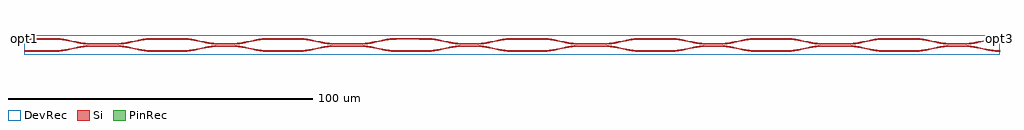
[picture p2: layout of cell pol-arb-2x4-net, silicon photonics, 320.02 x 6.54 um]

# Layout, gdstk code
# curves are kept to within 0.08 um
import gdstk
lib = gdstk.Library(unit=1e-6, precision=1e-09)
def R(c, l, rs):  # rectangles x0, y0, x1, y1
    for r in rs: c.add(gdstk.rectangle(r[:2], r[2:], *l))
def P(c, l, *ps):  # polygons
    for p in ps: c.add(gdstk.Polygon(p, *l))
Si = (1, 0)
PinRec = (1, 10)
DevRec = (68, 0)

layer_0_0_phase_sec_0_1 = lib.new_cell('layer-0_0_phase_sec_0$1')
P(layer_0_0_phase_sec_0_1, Si, [(4.609,-0.232),(0,-0.225),(0,0.225),(10,0.225),(10,-0.225)])

layer_0_0_phase_sec_1_1 = lib.new_cell('layer-0_0_phase_sec_1$1')
P(layer_0_0_phase_sec_1_1, Si, [(6.139,-0.233),(0,-0.225),(0,0.225),(10,0.225),(10,-0.225)])

dc_arm_up_8_1 = lib.new_cell('dc_arm_up_8$1')
R(dc_arm_up_8_1, Si, [(12,0.1,20,0.55)])
P(dc_arm_up_8_1, Si, [(12,0.1),(10.861,0.137),(9.344,0.292),(2.966,1.532),(1.481,1.712),(0,1.775),(0,2.225),(1.139,2.188),(2.656,2.033),(9.034,0.793),(10.519,0.613),(12,0.55)],
  [(20,0.1),(20,0.55),(21.481,0.613),(22.966,0.793),(29.344,2.033),(30.861,2.188),(32,2.225),(32,1.775),(30.519,1.712),(29.034,1.532),(22.656,0.292),(21.139,0.137)])

dc_arm_down_8_1 = lib.new_cell('dc_arm_down_8$1')
R(dc_arm_down_8_1, Si, [(12,-0.55,20,-0.1)])
P(dc_arm_down_8_1, Si, [(0,-2.225),(0,-1.775),(1.481,-1.712),(2.966,-1.532),(9.344,-0.292),(10.861,-0.137),(12,-0.1),(12,-0.55),(10.519,-0.613),(9.034,-0.793),(2.656,-2.033),(1.139,-2.188)],
  [(32,-2.225),(30.861,-2.188),(29.344,-2.033),(22.966,-0.793),(21.481,-0.613),(20,-0.55),(20,-0.1),(21.139,-0.137),(22.656,-0.292),(29.034,-1.532),(30.519,-1.712),(32,-1.775)])

dc_8_1 = lib.new_cell('dc_8$1')
dc_8_1.add(gdstk.Reference(dc_arm_up_8_1, (0,0)))
dc_8_1.add(gdstk.Reference(dc_arm_down_8_1, (0,0)))

layer_0_0_phase_sec_2_1 = lib.new_cell('layer-0_0_phase_sec_2$1')
P(layer_0_0_phase_sec_2_1, Si, [(4.619,-0.259),(0,-0.225),(0,0.225),(10,0.225),(10,-0.225)])

layer_0_0_phase_sec_3_1 = lib.new_cell('layer-0_0_phase_sec_3$1')
P(layer_0_0_phase_sec_3_1, Si, [(3.068,-0.228),(0,-0.225),(0,0.225),(10,0.225),(10,-0.225)])

dc_arm_up_4_1 = lib.new_cell('dc_arm_up_4$1')
R(dc_arm_up_4_1, Si, [(12,0.1,16,0.55)])
P(dc_arm_up_4_1, Si, [(12,0.1),(10.861,0.137),(9.344,0.292),(2.966,1.532),(1.481,1.712),(0,1.775),(0,2.225),(1.139,2.188),(2.656,2.033),(9.034,0.793),(10.519,0.613),(12,0.55)],
  [(16,0.1),(16,0.55),(17.481,0.613),(18.966,0.793),(25.344,2.033),(26.861,2.188),(28,2.225),(28,1.775),(26.519,1.712),(25.034,1.532),(18.656,0.292),(17.139,0.137)])

dc_arm_down_4_1 = lib.new_cell('dc_arm_down_4$1')
R(dc_arm_down_4_1, Si, [(12,-0.55,16,-0.1)])
P(dc_arm_down_4_1, Si, [(0,-2.225),(0,-1.775),(1.481,-1.712),(2.966,-1.532),(9.344,-0.292),(10.861,-0.137),(12,-0.1),(12,-0.55),(10.519,-0.613),(9.034,-0.793),(2.656,-2.033),(1.139,-2.188)],
  [(28,-2.225),(26.861,-2.188),(25.344,-2.033),(18.966,-0.793),(17.481,-0.613),(16,-0.55),(16,-0.1),(17.139,-0.137),(18.656,-0.292),(25.034,-1.532),(26.519,-1.712),(28,-1.775)])

dc_4_1 = lib.new_cell('dc_4$1')
dc_4_1.add(gdstk.Reference(dc_arm_up_4_1, (0,0)))
dc_4_1.add(gdstk.Reference(dc_arm_down_4_1, (0,0)))

layer_1_0_phase_sec_0_1 = lib.new_cell('layer-1_0_phase_sec_0$1')
P(layer_1_0_phase_sec_0_1, Si, [(3.083,-0.26),(0,-0.225),(0,0.225),(10,0.225),(10,-0.225)])

layer_1_0_phase_sec_1_1 = lib.new_cell('layer-1_0_phase_sec_1$1')
P(layer_1_0_phase_sec_1_1, Si, [(0,-0.225),(0,0.225),(10,0.225),(10,-0.225)])

layer_1_0_phase_sec_2_1 = lib.new_cell('layer-1_0_phase_sec_2$1')
P(layer_1_0_phase_sec_2_1, Si, [(0,-0.225),(0,0.225),(10,0.225),(10,-0.225)])

layer_1_0_phase_sec_3_1 = lib.new_cell('layer-1_0_phase_sec_3$1')
P(layer_1_0_phase_sec_3_1, Si, [(1.554,-0.282),(0,-0.225),(0,0.225),(1.554,0.282),(10,0.225),(10,-0.225)])

layer_2_0_phase_sec_0_1 = lib.new_cell('layer-2_0_phase_sec_0$1')
P(layer_2_0_phase_sec_0_1, Si, [(7.681,-0.247),(0,-0.225),(0,0.225),(10,0.225),(10,-0.225)])

layer_2_0_phase_sec_1_1 = lib.new_cell('layer-2_0_phase_sec_1$1')
P(layer_2_0_phase_sec_1_1, Si, [(6.119,-0.226),(0,-0.225),(0,0.225),(10,0.225),(10,-0.225)])

layer_2_0_phase_sec_2_1 = lib.new_cell('layer-2_0_phase_sec_2$1')
P(layer_2_0_phase_sec_2_1, Si, [(3.057,-0.227),(0,-0.225),(0,0.225),(10,0.225),(10,-0.225)])

layer_2_0_phase_sec_3_1 = lib.new_cell('layer-2_0_phase_sec_3$1')
P(layer_2_0_phase_sec_3_1, Si, [(3.074,-0.256),(0,-0.225),(0,0.225),(10,0.225),(10,-0.225)])

layer_3_0_phase_sec_0_1 = lib.new_cell('layer-3_0_phase_sec_0$1')
P(layer_3_0_phase_sec_0_1, Si, [(1.54,-0.258),(0,-0.225),(0,0.225),(10,0.225),(10,-0.225)])

layer_3_0_phase_sec_1_1 = lib.new_cell('layer-3_0_phase_sec_1$1')
P(layer_3_0_phase_sec_1_1, Si, [(0,-0.225),(0,0.225),(10,0.225),(10,-0.225)])

layer_3_0_phase_sec_2_1 = lib.new_cell('layer-3_0_phase_sec_2$1')
P(layer_3_0_phase_sec_2_1, Si, [(0,-0.225),(0,0.225),(10,0.225),(10,-0.225)])

layer_3_0_phase_sec_3_1 = lib.new_cell('layer-3_0_phase_sec_3$1')
P(layer_3_0_phase_sec_3_1, Si, [(3.078,-0.249),(0,-0.225),(0,0.225),(10,0.225),(10,-0.225)])

pol_arb_2x4_net = lib.new_cell('pol-arb-2x4-net')
R(pol_arb_2x4_net, DevRec, [(0,-1,320,5.542)])
pol_arb_2x4_net.add(gdstk.FlexPath([(0.01,4.282),(-0.01,4.282)], 0.45, ends="flush", simple_path=True, layer=1, datatype=10))  # PinRec
pol_arb_2x4_net.add(gdstk.FlexPath([(319.99,4.282),(320.01,4.282)], 0.45, ends="flush", simple_path=True, layer=1, datatype=10))  # PinRec
pol_arb_2x4_net.add(gdstk.FlexPath([(319.99,0.282),(320.01,0.282)], 0.45, ends="flush", simple_path=True, layer=1, datatype=10))  # PinRec
pol_arb_2x4_net.add(gdstk.Reference(layer_0_0_phase_sec_0_1, (0,4.282)))
pol_arb_2x4_net.add(gdstk.Reference(layer_0_0_phase_sec_1_1, (0,0.282)))
pol_arb_2x4_net.add(gdstk.Reference(dc_8_1, (10,2.282)))
pol_arb_2x4_net.add(gdstk.Reference(layer_0_0_phase_sec_2_1, (42,4.282)))
pol_arb_2x4_net.add(gdstk.Reference(layer_0_0_phase_sec_3_1, (42,0.282)))
pol_arb_2x4_net.add(gdstk.Reference(dc_4_1, (52,2.282)))
pol_arb_2x4_net.add(gdstk.Reference(layer_1_0_phase_sec_0_1, (80,4.282)))
pol_arb_2x4_net.add(gdstk.Reference(layer_1_0_phase_sec_1_1, (80,0.282)))
pol_arb_2x4_net.add(gdstk.Reference(dc_8_1, (90,2.282)))
pol_arb_2x4_net.add(gdstk.Reference(layer_1_0_phase_sec_2_1, (122,4.282)))
pol_arb_2x4_net.add(gdstk.Reference(layer_1_0_phase_sec_3_1, (122,0.282)))
pol_arb_2x4_net.add(gdstk.Reference(dc_4_1, (132,2.282)))
pol_arb_2x4_net.add(gdstk.Reference(layer_2_0_phase_sec_0_1, (160,4.282)))
pol_arb_2x4_net.add(gdstk.Reference(layer_2_0_phase_sec_1_1, (160,0.282)))
pol_arb_2x4_net.add(gdstk.Reference(dc_8_1, (170,2.282)))
pol_arb_2x4_net.add(gdstk.Reference(layer_2_0_phase_sec_2_1, (202,4.282)))
pol_arb_2x4_net.add(gdstk.Reference(layer_2_0_phase_sec_3_1, (202,0.282)))
pol_arb_2x4_net.add(gdstk.Reference(dc_4_1, (212,2.282)))
pol_arb_2x4_net.add(gdstk.Reference(layer_3_0_phase_sec_0_1, (240,4.282)))
pol_arb_2x4_net.add(gdstk.Reference(layer_3_0_phase_sec_1_1, (240,0.282)))
pol_arb_2x4_net.add(gdstk.Reference(dc_8_1, (250,2.282)))
pol_arb_2x4_net.add(gdstk.Reference(layer_3_0_phase_sec_2_1, (282,4.282)))
pol_arb_2x4_net.add(gdstk.Reference(layer_3_0_phase_sec_3_1, (282,0.282)))
pol_arb_2x4_net.add(gdstk.Reference(dc_4_1, (292,2.282)))
pol_arb_2x4_net.add(gdstk.Label('opt1', (0,4.282), layer=1, texttype=10))
pol_arb_2x4_net.add(gdstk.Label('opt3', (320,4.282), layer=1, texttype=10))
pol_arb_2x4_net.add(gdstk.Label('opt4', (320,0.282), layer=1, texttype=10))

lib.write_gds('pol-arb-2x4-net.gds')
